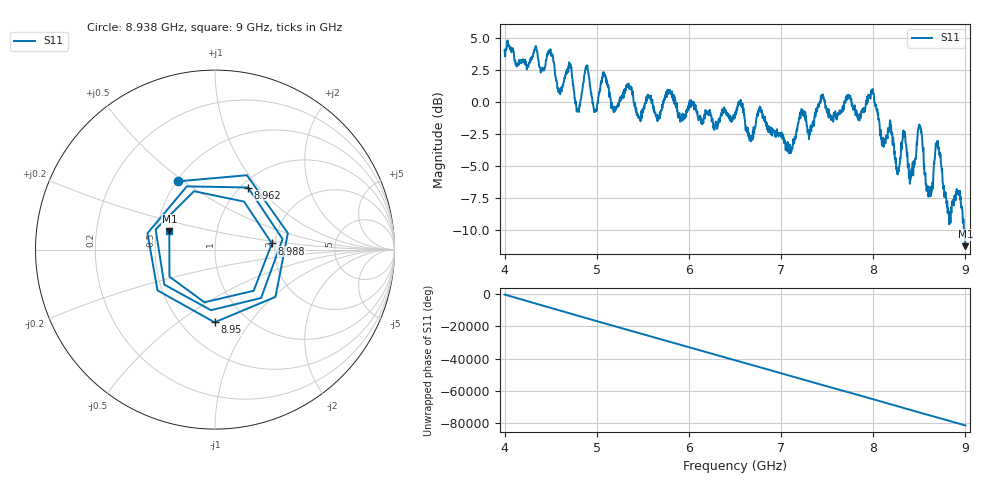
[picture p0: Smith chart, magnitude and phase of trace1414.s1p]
! Created with skrf 1.8.0 (http://scikit-rf.org).
# Hz S RI R 50.0
!freq ReS11 ImS11
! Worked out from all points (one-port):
!   1601 points, 4 GHz to 9 GHz, reference 50 ohm
!   lowest |S11| = -11.2 dB at 9 GHz (marker M1), VSWR 1.75, Z = 29.2 + j6.41 ohm
!   |S11| at or under -10 dB: 8.983654 GHz to 8.986348 GHz (2.695 MHz wide, 0.03 % of centre); 8.989905 GHz to end of sweep
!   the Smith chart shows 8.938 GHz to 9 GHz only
!   S11 on the Smith chart (normalised r, x): 8.938 GHz: 0.51, +0.48; 8.95 GHz: 0.71, -0.69; 8.962 GHz: 1.08, +0.88; 8.988 GHz: 1.92, +0.15; 9 GHz: 0.58, +0.13
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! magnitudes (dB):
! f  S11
! 4 GHz  4.1
! 4.497 GHz  4.2
! 4.625 GHz  1.1
! 4.703 GHz  3.0
! 4.8 GHz  -0.5
! 4.891 GHz  2.8
! 4.978 GHz  -0.7
! 5.081 GHz  2.1
! 5.25 GHz  0.3
! 5.875 GHz  -0.6
! 6.5 GHz  -0.8
! 7.125 GHz  -3.4
! 7.225 GHz  -0.7
! 7.75 GHz  0.5
! 7.991 GHz  0.8
! 8.1 GHz  -3.3
! 8.338 GHz  -2.7
! 8.375 GHz  -5.1
! 8.422 GHz  -5.6
! 8.506 GHz  -1.8
! 8.597 GHz  -7.4
! 8.697 GHz  -3.3
! 8.816 GHz  -8.6
! 8.938 GHz  -7.3
! 8.95 GHz  -7.8
! 8.962 GHz  -8.1
! 8.988 GHz  -9.9
! 9 GHz  -11.2
